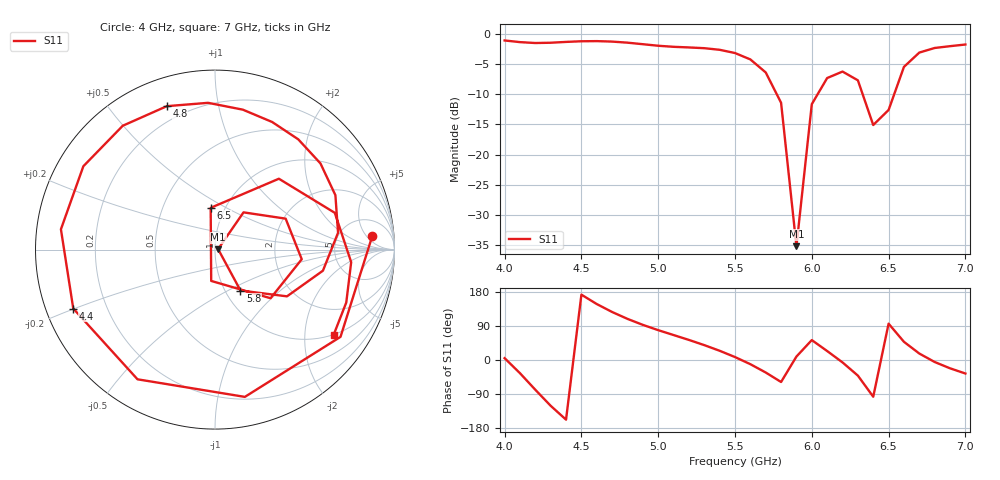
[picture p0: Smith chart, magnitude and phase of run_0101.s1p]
! Touchstone file exported from HFSS 2024.2.0
!  File:  C:/Users/wsak9/Desktop/Sim Fast/Widenad Patch/WP_AI_V1_sweep.aedt
!  Generated:  07:07:31 PM Oct 13, 2026
!  Design:  A1_model
!  Project:  WP_AI_V1_sweep
!  Setup:  Setup1
!  Solution:  Sweep
! Variables:
!  Air_gap = 3.3mm
!  Curve_Amp1 = 3.25
!  Curve_len1 = 1
!  Curve_pos = 10.315mm
!  Extra = 6.3mm
!  H_sub = 0.79mm
!  L_Patch = 16.63mm
!  L_Patch1 = 16.24mm
!  Sx = 1.41mm
!  Sy = 1.65mm
!  WS = 0.77mm
!  W_Patch = 12.32mm
!  W_Patch1 = 9.94mm
!Data is not renormalized
# GHz S MA
! Terminal data exported
! Port[1] = 1
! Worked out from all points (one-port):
!   31 points, 4 GHz to 7 GHz, reference per port
!   lowest |S11| = -35.1 dB at 5.9 GHz (marker M1), VSWR 1.04
!   |S11| at or under -10 dB: 5.772 GHz to 6.038 GHz (266.7 MHz wide, 4.52 % of centre); 6.331 GHz to 6.537 GHz (205.7 MHz wide, 3.2 % of centre)
!   S11 on the Smith chart (normalised r, x): 4 GHz: 11, +7; 4.4 GHz: 0.08, -0.20; 4.8 GHz: 0.13, +0.71; 5.8 GHz: 1.18, -0.58; 6.5 GHz: 0.86, +0.42; 7 GHz: 0.99, -2.79
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4  0.8792 4.9
4.1  0.8517 -34.8
4.2  0.8373 -78.5
4.3  0.8418 -120.9
4.4  0.8552 -157.4
4.5  0.8658 172.5
4.6  0.8681 147.7
4.7  0.8604 126.7
4.8  0.8429 108.5
4.9  0.8186 92.7
5  0.7949 78.7
5.2  0.7698 53.0
5.4  0.7362 24.3
5.5  0.692 7.8
5.6  0.6127 -11.0
5.7  0.4782 -33.0
5.8  0.2685 -58.1
5.9  0.01751 9.1
6  0.2613 52.6
6.1  0.4298 23.7
6.2  0.4862 -6.4
6.3  0.4116 -41.2
6.4  0.1758 -96.9
6.5  0.234 95.9
6.6  0.5316 48.0
6.7  0.6982 17.1
6.8  0.7619 -5.3
7  0.8138 -35.7
